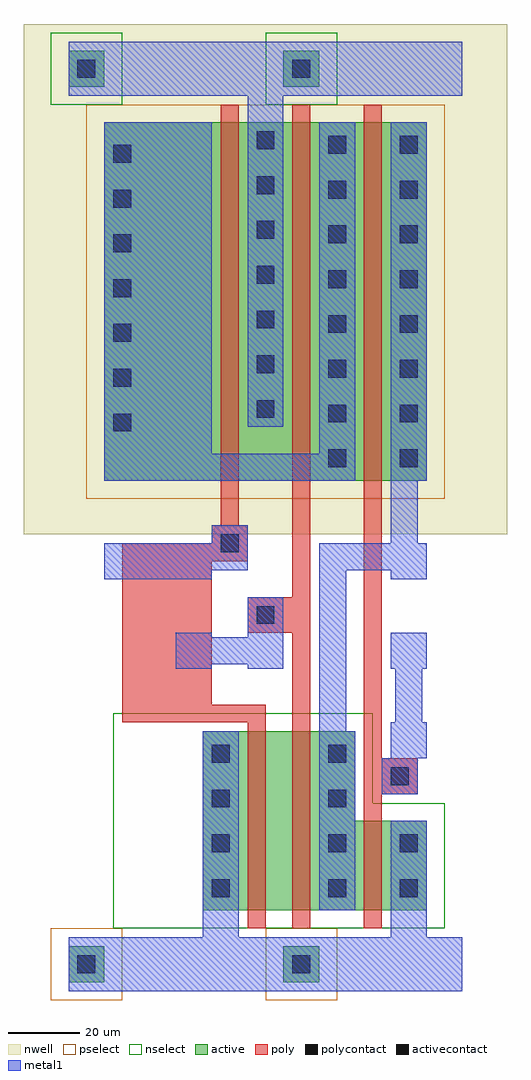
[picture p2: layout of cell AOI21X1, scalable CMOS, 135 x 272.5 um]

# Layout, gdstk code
import gdstk
lib = gdstk.Library(unit=1e-6, precision=1e-09)
def R(c, l, rs):  # rectangles x0, y0, x1, y1
    for r in rs: c.add(gdstk.rectangle(r[:2], r[2:], *l))
def A(c, l, x, y, w, h, nx, ny, dx, dy):  # array of equal rectangles
    R(c, l, [(x+i*dx, y+j*dy, x+i*dx+w, y+j*dy+h) for i in range(nx) for j in range(ny)])
nwell = (42, 0)
active = (43, 0)
pselect = (44, 0)
nselect = (45, 0)
poly = (46, 0)
polycontact = (47, 0)
activecontact = (48, 0)
metal1 = (49, 0)

aoi21x1 = lib.new_cell('AOI21X1')
R(aoi21x1, nwell, [(-17.5,120,117.5,262.5)])
R(aoi21x1, active, [(-5,-5,5,5), (55,-5,65,5), (32.5,15,95,40), (32.5,40,75,65), (5,135,95,235), (-5,245,5,255), (55,245,65,255)])
R(aoi21x1, pselect, [(-10,-10,10,10), (50,-10,70,10), (0,130,100,240)])
R(aoi21x1, nselect, [(7.5,10,100,45), (7.5,45,80,70), (-10,240,10,260), (50,240,70,260)])
R(aoi21x1, poly, [(45,10,50,67.5), (57.5,10,62.5,92.5), (77.5,10,82.5,47.5), (77.5,47.5,92.5,57.5), (77.5,57.5,82.5,240), (10,67.5,50,72.5), (10,72.5,35,112.5), (45,92.5,62.5,102.5), (57.5,102.5,62.5,240), (10,112.5,45,117.5), (35,117.5,45,122.5), (37.5,122.5,42.5,240)])
R(aoi21x1, polycontact, [(85,50,90,55), (47.5,95,52.5,100), (37.5,115,42.5,120)])
A(aoi21x1, activecontact, 35, 18.75, 5, 5, 1, 4, 0, 12.5)
A(aoi21x1, activecontact, 67.5, 18.75, 5, 5, 1, 4, 0, 12.5)
A(aoi21x1, activecontact, 67.5, 138.75, 5, 5, 1, 8, 0, 12.5)
A(aoi21x1, activecontact, 87.5, 138.75, 5, 5, 1, 8, 0, 12.5)
A(aoi21x1, activecontact, 7.5, 148.75, 5, 5, 1, 7, 0, 12.5)
A(aoi21x1, activecontact, 47.5, 152.5, 5, 5, 1, 7, 0, 12.5)
R(aoi21x1, activecontact, [(-2.5,-2.5,2.5,2.5), (57.5,-2.5,62.5,2.5), (87.5,18.75,92.5,23.75), (87.5,31.25,92.5,36.25), (-2.5,247.5,2.5,252.5), (57.5,247.5,62.5,252.5)])
R(aoi21x1, metal1, [(-5,-7.5,105,7.5), (32.5,7.5,42.5,65), (85,7.5,95,40), (65,15,75,65), (82.5,47.5,92.5,57.5), (85,57.5,95,67.5), (86.25,58.75,93.75,91.25), (65,65,72.5,110), (25,82.5,35,92.5), (45,82.5,55,102.5), (85,82.5,95,92.5), (26.25,83.75,53.75,91.25), (5,107.5,35,110), (85,107.5,95,110), (5,110,45,117.5), (65,110,95,117.5), (35,117.5,45,122.5), (85,117.5,92.5,135), (5,135,75,142.5), (85,135,95,235), (5,142.5,35,235), (65,142.5,75,235), (45,150,55,242.5), (-5,242.5,105,257.5)])

lib.write_gds('AOI21X1.gds')
